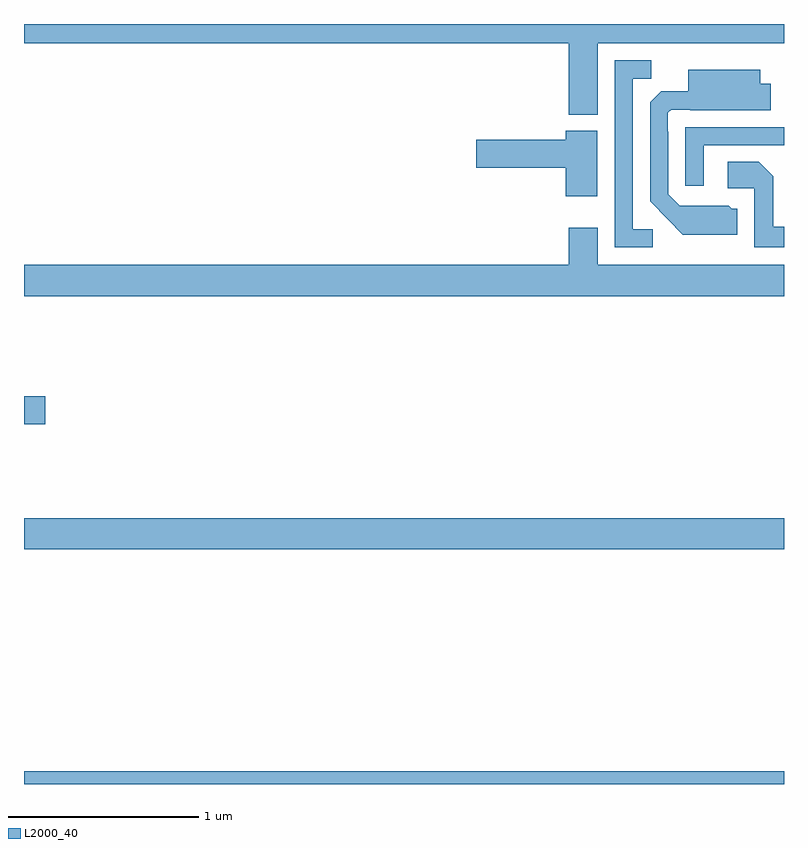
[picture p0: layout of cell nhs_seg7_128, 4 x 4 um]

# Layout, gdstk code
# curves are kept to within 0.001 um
import gdstk
lib = gdstk.Library(unit=1e-6, precision=1e-09)
def R(c, l, rs):  # rectangles x0, y0, x1, y1
    for r in rs: c.add(gdstk.rectangle(r[:2], r[2:], *l))
def P(c, l, *ps):  # polygons
    for p in ps: c.add(gdstk.Polygon(p, *l))
L2000_40 = (2000, 40)

nhs_seg7_128 = lib.new_cell('nhs_seg7_128')
R(nhs_seg7_128, L2000_40, [(119,1046,123,1046.068), (119,1047.236,123,1047.4), (119,1047.893,119.113,1048.04)])
P(nhs_seg7_128, L2000_40, [(122.02,1049.9),(123,1049.9),(123,1050),(119,1050),(119,1049.9),(121.868,1049.9),(121.868,1049.522),(122.02,1049.522)],
  [(122.308,1048.92),(122.205,1048.92),(122.205,1049.713),(122.301,1049.713),(122.301,1049.808),(122.109,1049.808),(122.109,1048.824),(122.308,1048.824)],
  [(122.755,1049.028),(122.724,1049.028),(122.708,1049.044),(122.451,1049.043),(122.391,1049.103),(122.391,1049.432),(122.388,1049.432),(122.388,1049.532),(122.406,1049.55),(122.506,1049.55),(122.506,1049.546),(122.93,1049.546),(122.93,1049.686),(122.875,1049.686),(122.875,1049.758),(122.495,1049.758),(122.495,1049.647),(122.354,1049.647),(122.295,1049.588),(122.295,1049.066),(122.467,1048.892),(122.755,1048.892)],
  [(122.577,1049.361),(123,1049.361),(123,1049.457),(122.481,1049.457),(122.481,1049.148),(122.577,1049.148)],
  [(122.017,1049.437),(121.85,1049.437),(121.85,1049.39),(121.38,1049.39),(121.38,1049.243),(121.85,1049.243),(121.85,1049.094),(122.017,1049.094)],
  [(123,1048.933),(122.943,1048.933),(122.943,1049.2),(122.867,1049.276),(122.703,1049.276),(122.703,1049.136),(122.844,1049.136),(122.844,1048.824),(123,1048.824)],
  [(123,1048.732),(122.02,1048.732),(122.02,1048.927),(121.868,1048.927),(121.868,1048.732),(119,1048.732),(119,1048.568),(123,1048.568)])

lib.write_gds('nhs_seg7_128.gds')
